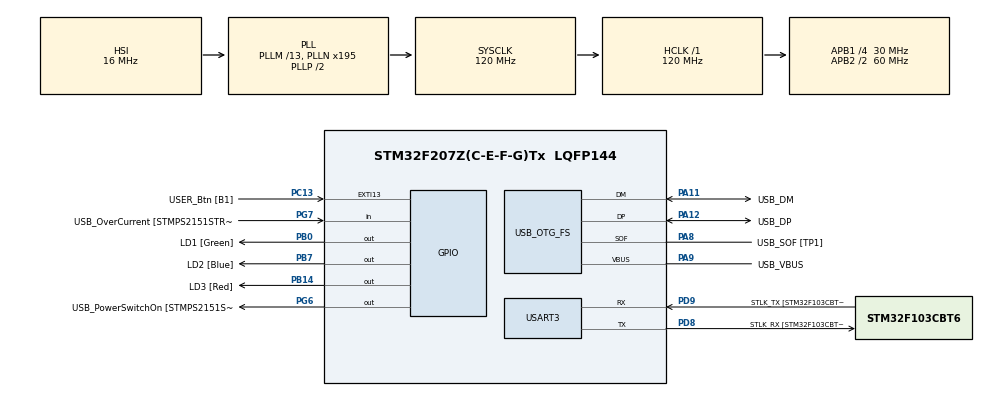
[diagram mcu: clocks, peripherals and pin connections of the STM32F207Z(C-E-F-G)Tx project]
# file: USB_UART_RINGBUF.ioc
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Mcu.Family=STM32F2
Mcu.Name=STM32F207Z(C-E-F-G)Tx
Mcu.Package=LQFP144
NVIC.EXTI15_10_IRQn=true\:0\:0\:false\:false\:true\:true\:true
NVIC.OTG_FS_IRQn=true\:0\:0\:false\:false\:true\:true\:true
NVIC.PriorityGroup=NVIC_PRIORITYGROUP_4
NVIC.USART3_IRQn=true\:0\:0\:false\:false\:true\:true\:true
PA1.GPIO_Label=RMII_REF_CLK [LAN8742A-CZ-TR_REFCLK0]
PA1.Signal=ETH_REF_CLK
PA10.GPIO_Label=USB_ID
PA10.Signal=USB_OTG_FS_ID
PA11.GPIO_Label=USB_DM
PA11.Mode=Device_Only
PA11.Signal=USB_OTG_FS_DM
PA12.GPIO_Label=USB_DP
PA12.Mode=Device_Only
PA12.Signal=USB_OTG_FS_DP
PA13.GPIO_Label=TMS
PA13.Mode=Serial_Wire
PA13.Signal=SYS_JTMS-SWDIO
PA14.GPIO_Label=TCK
PA14.Mode=Serial_Wire
PA14.Signal=SYS_JTCK-SWCLK
PA2.GPIO_Label=RMII_MDIO [LAN8742A-CZ-TR_MDIO]
PA2.Signal=ETH_MDIO
PA7.GPIO_Label=RMII_CRS_DV [LAN8742A-CZ-TR_CRS_DV]
PA7.Signal=ETH_CRS_DV
PA8.GPIO_Label=USB_SOF [TP1]
PA8.Mode=Activate_SOF_FS
PA8.Signal=USB_OTG_FS_SOF
PA9.GPIO_Label=USB_VBUS
PA9.Mode=Activate_VBUS
PA9.Signal=USB_OTG_FS_VBUS
PB0.GPIO_Label=LD1 [Green]
PB0.Signal=GPIO_Output
PB13.GPIO_Label=RMII_TXD1 [LAN8742A-CZ-TR_TXD1]
PB13.Signal=ETH_TXD1
PB14.GPIO_Label=LD3 [Red]
PB14.Signal=GPIO_Output
PB3.GPIO_Label=SWO
PB3.Signal=SYS_JTDO-SWO
PB7.GPIO_Label=LD2 [Blue]
PB7.Signal=GPIO_Output
PC1.GPIO_Label=RMII_MDC [LAN8742A-CZ-TR_MDC]
PC1.Signal=ETH_MDC
PC13.GPIO_Label=USER_Btn [B1]
PC13.Signal=GPXTI13
PC14-OSC32_IN.Mode=LSE-External-Oscillator
PC14-OSC32_IN.Signal=RCC_OSC32_IN
PC15-OSC32_OUT.Mode=LSE-External-Oscillator
PC15-OSC32_OUT.Signal=RCC_OSC32_OUT
PC4.GPIO_Label=RMII_RXD0 [LAN8742A-CZ-TR_RXD0]
PC4.Signal=ETH_RXD0
PC5.GPIO_Label=RMII_RXD1 [LAN8742A-CZ-TR_RXD1]
PC5.Signal=ETH_RXD1
PD8.GPIO_Label=STLK_RX [STM32F103CBT6_PA3]
PD8.Mode=Asynchronous
PD8.Signal=USART3_TX
PD9.GPIO_Label=STLK_TX [STM32F103CBT6_PA2]
PD9.Mode=Asynchronous
PD9.Signal=USART3_RX
PG11.GPIO_Label=RMII_TX_EN [LAN8742A-CZ-TR_TXEN]
PG11.Signal=ETH_TX_EN
PG13.GPIO_Label=RMII_TXD0 [LAN8742A-CZ-TR_TXD0]
PG13.Signal=ETH_TXD0
PG6.GPIO_Label=USB_PowerSwitchOn [STMPS2151STR_EN]
PG6.Signal=GPIO_Output
PG7.GPIO_Label=USB_OverCurrent [STMPS2151STR_FAULT]
PG7.Signal=GPIO_Input
PH0-OSC_IN.GPIO_Label=MCO [STM32F103CBT6_PA8]
PH0-OSC_IN.Mode=HSE-External-Clock-Source
PH0-OSC_IN.Signal=RCC_OSC_IN
PH1-OSC_OUT.Mode=HSE-External-Clock-Source
PH1-OSC_OUT.Signal=RCC_OSC_OUT
ProjectManager.HeapSize=0x200
ProjectManager.StackSize=0x400
ProjectManager.TargetToolchain=STM32CubeIDE
RCC.48MHZClocksFreq_Value=48000000
RCC.AHBFreq_Value=120000000
RCC.APB1CLKDivider=RCC_HCLK_DIV4
RCC.APB1Freq_Value=30000000
RCC.APB1TimFreq_Value=60000000
RCC.APB2CLKDivider=RCC_HCLK_DIV2
RCC.APB2Freq_Value=60000000
RCC.APB2TimFreq_Value=120000000
RCC.CortexFreq_Value=120000000
RCC.HCLKFreq_Value=120000000
RCC.HSE_VALUE=8000000
RCC.HSI_VALUE=16000000
RCC.PLLM=13
RCC.PLLMUL=RCC_PLL_MUL9
RCC.PLLN=195
RCC.PLLQ=5
RCC.PRESCALERUSB=RCC_USBCLKSOURCE_PLL_DIV1_5
RCC.SYSCLKFreq_VALUE=120000000
RCC.SYSCLKSource=RCC_SYSCLKSOURCE_PLLCLK
RCC.SYSCLKSourceVirtual=RCC_SYSCLKSOURCE_PLLCLK
RCC.USBFreq_Value=48000000
RCC.VCOOutputFreq_Value=240000000
USART3.VirtualMode=VM_ASYNC
USB_DEVICE.CLASS_NAME_FS=CDC
USB_DEVICE.MANUFACTURER_STRING-CDC_FS=Stryx.Inc
USB_DEVICE.PRODUCT_STRING_CDC_FS=USB_UART_RINGBUF
USB_DEVICE.VirtualMode-CDC_FS=Cdc
USB_DEVICE.VirtualModeFS=Cdc_FS
USB_OTG_FS.VirtualMode=Device_Only
VP_USB_DEVICE_VS_USB_DEVICE_CDC_FS.Mode=CDC_FS
board=NUCLEO-F207ZG

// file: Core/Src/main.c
/* USER CODE BEGIN Header */
/**
 ******************************************************************************
 * @file           : main.c
 * @brief          : Main program body
 ******************************************************************************
 * @attention
 *
 * <h2><center>&copy; Copyright (c) 2021 STMicroelectronics.
 * All rights reserved.</center></h2>
 *
 * This software component is licensed by ST under BSD 3-Clause license,
 * the "License"; You may not use this file except in compliance with the
 * License. You may obtain a copy of the License at:
 *                        opensource.org/licenses/BSD-3-Clause
 *
 ******************************************************************************
 */
/* USER CODE END Header */
#include "main.h"
#include "usb_device.h"

UART_HandleTypeDef huart3;

/* USER CODE BEGIN PV */
#define MAX_BUFLEN 1024
char buf[MAX_BUFLEN];
int bufHead = 0, bufTail = 0;
uint8_t tmpbuf;
/* USER CODE END PV */

void SystemClock_Config(void);
static void MX_GPIO_Init(void);
static void MX_USART3_UART_Init(void);

/* USER CODE BEGIN 0 */

void HAL_UART_RxCpltCallback(UART_HandleTypeDef *huart)
{
	if (huart->Instance == huart3.Instance)
	{
		HAL_UART_Receive_IT(&huart3, &tmpbuf, 1);
		buf[bufTail] = huart->pRxBuffPtr[0];
		bufTail++;
		bufTail %= 200;
	}
}

int __io_putchar(int ch)
{
	uint8_t *tr = (uint8_t*) &ch;
	HAL_UART_Transmit(&huart3, &tr[0], 1, -1);
	return ch;
}
int __io_getchar()
{
	register int ret;

	__retry: if (bufHead != bufTail)
	{
		ret = buf[bufHead];
		if (ret == '\r')
		{
			ret = '\n';
		}
		bufHead++;
		bufHead %= MAX_BUFLEN;
	}
	else
	{
		goto __retry;
	}
	return ret;
}
/* USER CODE END 0 */

int main(void)
{

  /* MCU Configuration--------------------------------------------------------*/

  /* Reset of all peripherals, Initializes the Flash interface and the Systick. */
  HAL_Init();

  /* Configure the system clock */
  SystemClock_Config();

  /* Initialize all configured peripherals */
  MX_GPIO_Init();
  MX_USART3_UART_Init();
  MX_USB_DEVICE_Init();
  /* USER CODE BEGIN 2 */

	HAL_UART_Receive_IT(&huart3, &tmpbuf, 1);
	puts("Hello World!\r\n");

	//char mainBuf[300];
  /* USER CODE END 2 */

  /* Infinite loop */
  /* USER CODE BEGIN WHILE */
	while (1)
	{
		//gets(mainBuf);
		puts("\r\nREcved: ");
		//puts(mainBuf);
		HAL_Delay(1000);
    /* USER CODE END WHILE */

	}
}

void SystemClock_Config(void)
{
  RCC_OscInitTypeDef RCC_OscInitStruct = {0};
  RCC_ClkInitTypeDef RCC_ClkInitStruct = {0};

  /** Initializes the RCC Oscillators according to the specified parameters
  * in the RCC_OscInitTypeDef structure.
  */
  RCC_OscInitStruct.OscillatorType = RCC_OSCILLATORTYPE_HSI;
  RCC_OscInitStruct.HSIState = RCC_HSI_ON;
  RCC_OscInitStruct.HSICalibrationValue = RCC_HSICALIBRATION_DEFAULT;
  RCC_OscInitStruct.PLL.PLLState = RCC_PLL_ON;
  RCC_OscInitStruct.PLL.PLLSource = RCC_PLLSOURCE_HSI;
  RCC_OscInitStruct.PLL.PLLM = 13;
  RCC_OscInitStruct.PLL.PLLN = 195;
  RCC_OscInitStruct.PLL.PLLP = RCC_PLLP_DIV2;
  RCC_OscInitStruct.PLL.PLLQ = 5;
  if (HAL_RCC_OscConfig(&RCC_OscInitStruct) != HAL_OK)
  {
    Error_Handler();
  }
  /** Initializes the CPU, AHB and APB buses clocks
  */
  RCC_ClkInitStruct.ClockType = RCC_CLOCKTYPE_HCLK|RCC_CLOCKTYPE_SYSCLK
                              |RCC_CLOCKTYPE_PCLK1|RCC_CLOCKTYPE_PCLK2;
  RCC_ClkInitStruct.SYSCLKSource = RCC_SYSCLKSOURCE_PLLCLK;
  RCC_ClkInitStruct.AHBCLKDivider = RCC_SYSCLK_DIV1;
  RCC_ClkInitStruct.APB1CLKDivider = RCC_HCLK_DIV4;
  RCC_ClkInitStruct.APB2CLKDivider = RCC_HCLK_DIV2;

  if (HAL_RCC_ClockConfig(&RCC_ClkInitStruct, FLASH_LATENCY_3) != HAL_OK)
  {
    Error_Handler();
  }
}

static void MX_USART3_UART_Init(void)
{

  huart3.Instance = USART3;
  huart3.Init.BaudRate = 115200;
  huart3.Init.WordLength = UART_WORDLENGTH_8B;
  huart3.Init.StopBits = UART_STOPBITS_1;
  huart3.Init.Parity = UART_PARITY_NONE;
  huart3.Init.Mode = UART_MODE_TX_RX;
  huart3.Init.HwFlowCtl = UART_HWCONTROL_NONE;
  huart3.Init.OverSampling = UART_OVERSAMPLING_16;
  if (HAL_UART_Init(&huart3) != HAL_OK)
  {
    Error_Handler();
  }

}

static void MX_GPIO_Init(void)
{
  GPIO_InitTypeDef GPIO_InitStruct = {0};

  /* GPIO Ports Clock Enable */
  __HAL_RCC_GPIOC_CLK_ENABLE();
  __HAL_RCC_GPIOH_CLK_ENABLE();
  __HAL_RCC_GPIOA_CLK_ENABLE();
  __HAL_RCC_GPIOB_CLK_ENABLE();
  __HAL_RCC_GPIOD_CLK_ENABLE();
  __HAL_RCC_GPIOG_CLK_ENABLE();

  /*Configure GPIO pin Output Level */
  HAL_GPIO_WritePin(GPIOB, LD1_Pin|LD3_Pin|LD2_Pin, GPIO_PIN_RESET);

  /*Configure GPIO pin Output Level */
  HAL_GPIO_WritePin(USB_PowerSwitchOn_GPIO_Port, USB_PowerSwitchOn_Pin, GPIO_PIN_RESET);

  /*Configure GPIO pin : USER_Btn_Pin */
  GPIO_InitStruct.Pin = USER_Btn_Pin;
  GPIO_InitStruct.Mode = GPIO_MODE_IT_RISING;
  GPIO_InitStruct.Pull = GPIO_NOPULL;
  HAL_GPIO_Init(USER_Btn_GPIO_Port, &GPIO_InitStruct);

  /*Configure GPIO pins : RMII_MDC_Pin RMII_RXD0_Pin RMII_RXD1_Pin */
  GPIO_InitStruct.Pin = RMII_MDC_Pin|RMII_RXD0_Pin|RMII_RXD1_Pin;
  GPIO_InitStruct.Mode = GPIO_MODE_AF_PP;
  GPIO_InitStruct.Pull = GPIO_NOPULL;
  GPIO_InitStruct.Speed = GPIO_SPEED_FREQ_VERY_HIGH;
  GPIO_InitStruct.Alternate = GPIO_AF11_ETH;
  HAL_GPIO_Init(GPIOC, &GPIO_InitStruct);

  /*Configure GPIO pins : RMII_REF_CLK_Pin RMII_MDIO_Pin RMII_CRS_DV_Pin */
  GPIO_InitStruct.Pin = RMII_REF_CLK_Pin|RMII_MDIO_Pin|RMII_CRS_DV_Pin;
  GPIO_InitStruct.Mode = GPIO_MODE_AF_PP;
  GPIO_InitStruct.Pull = GPIO_NOPULL;
  GPIO_InitStruct.Speed = GPIO_SPEED_FREQ_VERY_HIGH;
  GPIO_InitStruct.Alternate = GPIO_AF11_ETH;
  HAL_GPIO_Init(GPIOA, &GPIO_InitStruct);

  /*Configure GPIO pins : LD1_Pin LD3_Pin LD2_Pin */
  GPIO_InitStruct.Pin = LD1_Pin|LD3_Pin|LD2_Pin;
  GPIO_InitStruct.Mode = GPIO_MODE_OUTPUT_PP;
  GPIO_InitStruct.Pull = GPIO_NOPULL;
  GPIO_InitStruct.Speed = GPIO_SPEED_FREQ_LOW;
  HAL_GPIO_Init(GPIOB, &GPIO_InitStruct);

  /*Configure GPIO pin : RMII_TXD1_Pin */
  GPIO_InitStruct.Pin = RMII_TXD1_Pin;
  GPIO_InitStruct.Mode = GPIO_MODE_AF_PP;
  GPIO_InitStruct.Pull = GPIO_NOPULL;
  GPIO_InitStruct.Speed = GPIO_SPEED_FREQ_VERY_HIGH;
  GPIO_InitStruct.Alternate = GPIO_AF11_ETH;
  HAL_GPIO_Init(RMII_TXD1_GPIO_Port, &GPIO_InitStruct);

  /*Configure GPIO pin : USB_PowerSwitchOn_Pin */
  GPIO_InitStruct.Pin = USB_PowerSwitchOn_Pin;
  GPIO_InitStruct.Mode = GPIO_MODE_OUTPUT_PP;
  GPIO_InitStruct.Pull = GPIO_NOPULL;
  GPIO_InitStruct.Speed = GPIO_SPEED_FREQ_LOW;
  HAL_GPIO_Init(USB_PowerSwitchOn_GPIO_Port, &GPIO_InitStruct);

  /*Configure GPIO pin : USB_OverCurrent_Pin */
  GPIO_InitStruct.Pin = USB_OverCurrent_Pin;
  GPIO_InitStruct.Mode = GPIO_MODE_INPUT;
  GPIO_InitStruct.Pull = GPIO_NOPULL;
  HAL_GPIO_Init(USB_OverCurrent_GPIO_Port, &GPIO_InitStruct);

  /*Configure GPIO pins : RMII_TX_EN_Pin RMII_TXD0_Pin */
  GPIO_InitStruct.Pin = RMII_TX_EN_Pin|RMII_TXD0_Pin;
  GPIO_InitStruct.Mode = GPIO_MODE_AF_PP;
  GPIO_InitStruct.Pull = GPIO_NOPULL;
  GPIO_InitStruct.Speed = GPIO_SPEED_FREQ_VERY_HIGH;
  GPIO_InitStruct.Alternate = GPIO_AF11_ETH;
  HAL_GPIO_Init(GPIOG, &GPIO_InitStruct);

  /* EXTI interrupt init*/
  HAL_NVIC_SetPriority(EXTI15_10_IRQn, 0, 0);
  HAL_NVIC_EnableIRQ(EXTI15_10_IRQn);

}

void Error_Handler(void)
{
	__disable_irq();
	while (1)
	{
	}
}

/************************ (C) COPYRIGHT STMicroelectronics *****END OF FILE****/
